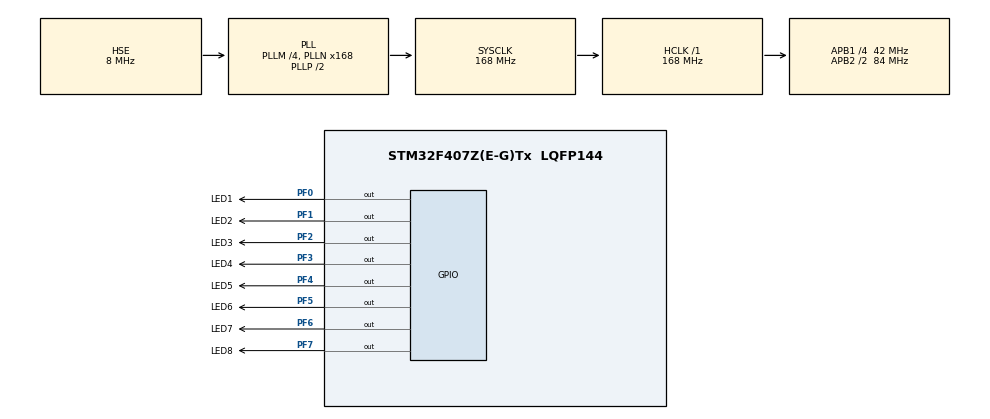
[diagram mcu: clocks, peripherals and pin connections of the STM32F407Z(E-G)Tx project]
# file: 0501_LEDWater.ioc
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Mcu.Family=STM32F4
Mcu.Name=STM32F407Z(E-G)Tx
Mcu.Package=LQFP144
NVIC.PriorityGroup=NVIC_PRIORITYGROUP_4
PA13.Mode=Serial_Wire
PA13.Signal=SYS_JTMS-SWDIO
PA14.Mode=Serial_Wire
PA14.Signal=SYS_JTCK-SWCLK
PF0.GPIO_Label=LED1
PF0.PinState=GPIO_PIN_SET
PF0.Signal=GPIO_Output
PF1.GPIO_Label=LED2
PF1.PinState=GPIO_PIN_SET
PF1.Signal=GPIO_Output
PF2.GPIO_Label=LED3
PF2.PinState=GPIO_PIN_SET
PF2.Signal=GPIO_Output
PF3.GPIO_Label=LED4
PF3.PinState=GPIO_PIN_SET
PF3.Signal=GPIO_Output
PF4.GPIO_Label=LED5
PF4.PinState=GPIO_PIN_SET
PF4.Signal=GPIO_Output
PF5.GPIO_Label=LED6
PF5.PinState=GPIO_PIN_SET
PF5.Signal=GPIO_Output
PF6.GPIO_Label=LED7
PF6.PinState=GPIO_PIN_SET
PF6.Signal=GPIO_Output
PF7.GPIO_Label=LED8
PF7.PinState=GPIO_PIN_SET
PF7.Signal=GPIO_Output
PH0-OSC_IN.Mode=HSE-External-Oscillator
PH0-OSC_IN.Signal=RCC_OSC_IN
PH1-OSC_OUT.Mode=HSE-External-Oscillator
PH1-OSC_OUT.Signal=RCC_OSC_OUT
ProjectManager.HeapSize=0x200
ProjectManager.StackSize=0x400
ProjectManager.TargetToolchain=MDK-ARM V5.32
RCC.48MHZClocksFreq_Value=84000000
RCC.AHBFreq_Value=168000000
RCC.APB1CLKDivider=RCC_HCLK_DIV4
RCC.APB1Freq_Value=42000000
RCC.APB1TimFreq_Value=84000000
RCC.APB2CLKDivider=RCC_HCLK_DIV2
RCC.APB2Freq_Value=84000000
RCC.APB2TimFreq_Value=168000000
RCC.CortexFreq_Value=168000000
RCC.HCLKFreq_Value=168000000
RCC.HSE_VALUE=8000000
RCC.HSI_VALUE=16000000
RCC.LSE_VALUE=32768
RCC.PLLM=4
RCC.PLLN=168
RCC.PLLSourceVirtual=RCC_PLLSOURCE_HSE
RCC.SYSCLKFreq_VALUE=168000000
RCC.SYSCLKSource=RCC_SYSCLKSOURCE_PLLCLK
RCC.VCOOutputFreq_Value=336000000
board=custom

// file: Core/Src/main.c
/* USER CODE BEGIN Header */
/**
  ******************************************************************************
  * @file           : main.c
  * @brief          : Main program body
  ******************************************************************************
  * @attention
  *
  * Copyright (c) 2026 STMicroelectronics.
  * All rights reserved.
  *
  * This software is licensed under terms that can be found in the LICENSE file
  * in the root directory of this software component.
  * If no LICENSE file comes with this software, it is provided AS-IS.
  *
  ******************************************************************************
  */
/* USER CODE END Header */
#include "main.h"
#include "gpio.h"

void SystemClock_Config(void);

/* USER CODE BEGIN 0 */
void delay(uint32_t i)
{
    while(i--);
}
/* USER CODE END 0 */

int main(void)
{

  /* MCU Configuration--------------------------------------------------------*/

  /* Reset of all peripherals, Initializes the Flash interface and the Systick. */
  HAL_Init();

  /* Configure the system clock */
  SystemClock_Config();

  /* Initialize all configured peripherals */
  MX_GPIO_Init();

  /* Infinite loop */
  while (1)
  {

    /* USER CODE BEGIN 3 */
		GPIOF->ODR = 0xFE; // PF0=0,LED1?,??PF1~PF7=1??
    delay(24000000);
    GPIOF->ODR = 0xFD; // PF1=0,LED2?
    delay(24000000);
    GPIOF->ODR = 0xFB; // PF2=0,LED3?
    delay(24000000);
    GPIOF->ODR = 0xF7; // PF3=0,LED4?
    delay(24000000);
    GPIOF->ODR = 0xEF; // PF4=0,LED5?
    delay(24000000);
    GPIOF->ODR = 0xDF; // PF5=0,LED6?
    delay(24000000);
    GPIOF->ODR = 0xBF; // PF6=0,LED7?
    delay(24000000);
    GPIOF->ODR = 0x7F; // PF7=0,LED8?
    delay(24000000);
  }
  /* USER CODE END 3 */
}

void SystemClock_Config(void)
{
  RCC_OscInitTypeDef RCC_OscInitStruct = {0};
  RCC_ClkInitTypeDef RCC_ClkInitStruct = {0};

  /** Configure the main internal regulator output voltage
  */
  __HAL_RCC_PWR_CLK_ENABLE();
  __HAL_PWR_VOLTAGESCALING_CONFIG(PWR_REGULATOR_VOLTAGE_SCALE1);

  /** Initializes the RCC Oscillators according to the specified parameters
  * in the RCC_OscInitTypeDef structure.
  */
  RCC_OscInitStruct.OscillatorType = RCC_OSCILLATORTYPE_HSE;
  RCC_OscInitStruct.HSEState = RCC_HSE_ON;
  RCC_OscInitStruct.PLL.PLLState = RCC_PLL_ON;
  RCC_OscInitStruct.PLL.PLLSource = RCC_PLLSOURCE_HSE;
  RCC_OscInitStruct.PLL.PLLM = 4;
  RCC_OscInitStruct.PLL.PLLN = 168;
  RCC_OscInitStruct.PLL.PLLP = RCC_PLLP_DIV2;
  RCC_OscInitStruct.PLL.PLLQ = 4;
  if (HAL_RCC_OscConfig(&RCC_OscInitStruct) != HAL_OK)
  {
    Error_Handler();
  }

  /** Initializes the CPU, AHB and APB buses clocks
  */
  RCC_ClkInitStruct.ClockType = RCC_CLOCKTYPE_HCLK|RCC_CLOCKTYPE_SYSCLK
                              |RCC_CLOCKTYPE_PCLK1|RCC_CLOCKTYPE_PCLK2;
  RCC_ClkInitStruct.SYSCLKSource = RCC_SYSCLKSOURCE_PLLCLK;
  RCC_ClkInitStruct.AHBCLKDivider = RCC_SYSCLK_DIV1;
  RCC_ClkInitStruct.APB1CLKDivider = RCC_HCLK_DIV4;
  RCC_ClkInitStruct.APB2CLKDivider = RCC_HCLK_DIV2;

  if (HAL_RCC_ClockConfig(&RCC_ClkInitStruct, FLASH_LATENCY_5) != HAL_OK)
  {
    Error_Handler();
  }
}

void Error_Handler(void)
{
  __disable_irq();
  while (1)
  {
  }
}
